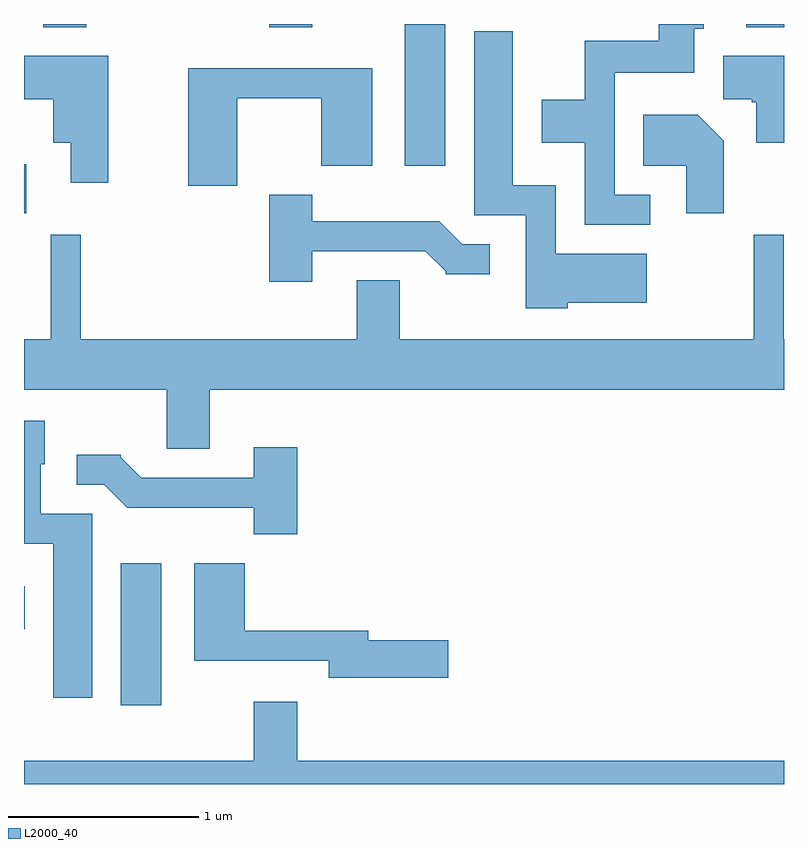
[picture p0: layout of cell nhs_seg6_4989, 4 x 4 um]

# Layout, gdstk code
import gdstk
lib = gdstk.Library(unit=1e-6, precision=1e-09)
def R(c, l, rs):  # rectangles x0, y0, x1, y1
    for r in rs: c.add(gdstk.rectangle(r[:2], r[2:], *l))
def P(c, l, *ps):  # polygons
    for p in ps: c.add(gdstk.Polygon(p, *l))
L2000_40 = (2000, 40)

nhs_seg6_4989 = lib.new_cell('nhs_seg6_4989')
R(nhs_seg6_4989, L2000_40, [(338.121,1570.576,338.334,1571.324), (337.611,1570.976,337.614,1571.204), (337.611,1573.166,337.624,1573.424), (339.616,1573.416,339.829,1574.162), (337.711,1574.146,337.939,1574.162), (338.901,1574.146,339.129,1574.162), (341.411,1574.146,341.611,1574.162)])
P(nhs_seg6_4989, L2000_40, [(340.908,1573.264),(340.719,1573.264),(340.719,1573.906),(341.139,1573.906),(341.139,1574.136),(341.188,1574.136),(341.188,1574.162),(340.951,1574.162),(340.951,1574.074),(340.561,1574.074),(340.561,1573.764),(340.336,1573.764),(340.336,1573.536),(340.561,1573.536),(340.561,1573.106),(340.908,1573.106)],
  [(340.474,1572.696),(340.889,1572.696),(340.889,1572.954),(340.409,1572.954),(340.409,1573.314),(340.184,1573.314),(340.184,1574.124),(339.981,1574.124),(339.981,1573.156),(340.251,1573.156),(340.251,1572.666),(340.474,1572.666)],
  [(341.611,1573.994),(341.291,1573.994),(341.291,1573.766),(341.44,1573.766),(341.44,1573.751),(341.466,1573.751),(341.466,1573.536),(341.611,1573.536)],
  [(338.054,1573.994),(337.611,1573.994),(337.611,1573.766),(337.766,1573.766),(337.766,1573.536),(337.856,1573.536),(337.856,1573.326),(338.054,1573.326)],
  [(338.734,1573.771),(339.176,1573.771),(339.176,1573.416),(339.444,1573.416),(339.444,1573.929),(338.476,1573.929),(338.476,1573.311),(338.734,1573.311)],
  [(341.294,1573.547),(341.157,1573.684),(340.871,1573.684),(340.871,1573.416),(341.096,1573.416),(341.096,1573.166),(341.294,1573.166)],
  [(339.129,1572.966),(339.724,1572.966),(339.83,1572.86),(339.83,1572.846),(340.063,1572.846),(340.063,1573.004),(339.917,1573.004),(339.797,1573.124),(339.129,1573.124),(339.129,1573.264),(338.901,1573.264),(338.901,1572.806),(339.129,1572.806)],
  [(338.589,1572.236),(341.611,1572.236),(341.611,1572.504),(341.609,1572.504),(341.609,1573.053),(341.451,1573.053),(341.451,1572.504),(339.589,1572.504),(339.589,1572.814),(339.361,1572.814),(339.361,1572.504),(337.909,1572.504),(337.909,1573.053),(337.751,1573.053),(337.751,1572.504),(337.611,1572.504),(337.611,1572.236),(338.361,1572.236),(338.361,1571.926),(338.589,1571.926)],
  [(337.969,1571.584),(337.699,1571.584),(337.699,1571.846),(337.719,1571.846),(337.719,1572.074),(337.611,1572.074),(337.611,1571.426),(337.766,1571.426),(337.766,1570.616),(337.969,1570.616)],
  [(339.049,1571.934),(338.821,1571.934),(338.821,1571.774),(338.227,1571.774),(338.12,1571.881),(338.12,1571.894),(337.888,1571.894),(337.888,1571.736),(338.034,1571.736),(338.154,1571.616),(338.821,1571.616),(338.821,1571.476),(339.049,1571.476)],
  [(339.844,1570.919),(339.424,1570.919),(339.424,1570.969),(338.774,1570.969),(338.774,1571.324),(338.506,1571.324),(338.506,1570.811),(339.216,1570.811),(339.216,1570.721),(339.844,1570.721)],
  [(341.611,1570.284),(339.049,1570.284),(339.049,1570.594),(338.821,1570.594),(338.821,1570.284),(337.611,1570.284),(337.611,1570.162),(341.611,1570.162)])

lib.write_gds('nhs_seg6_4989.gds')
